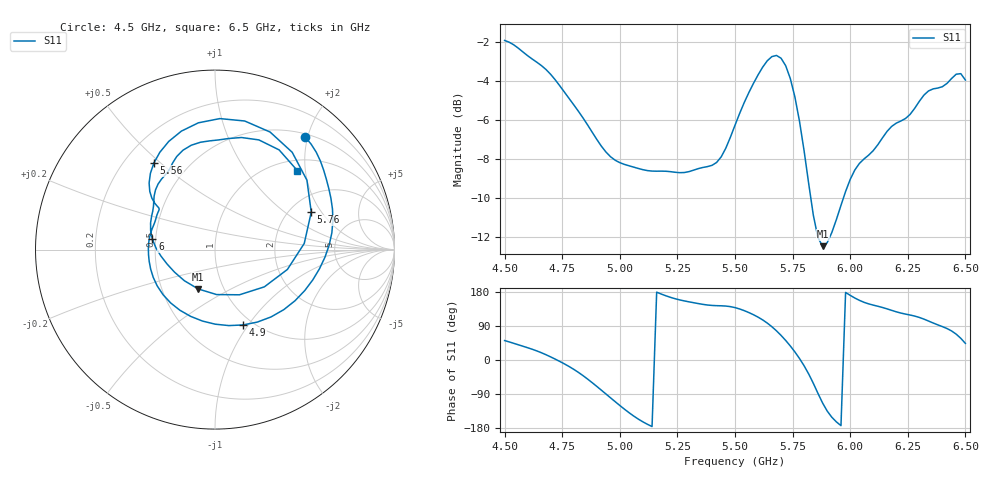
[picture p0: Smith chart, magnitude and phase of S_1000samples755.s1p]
! TOUCHSTONE file generated by CST MICROWAVE STUDIO
! Date and time: Sat Oct 29 06:47:40 2022
! Project name: L.cst
! Parameters = {Di=1.27; Epsilon_r=1.56; InnerDiameter=1.27; Length=2; Lf=10; Lg=60; OuterConductorThickness=0.2921; OuterDiameter=3.6; Wf=3; Wp=41.2; de=1.5; df=6.8; g=0.8; gx=3.78803; gy=0.400065; h=2.34; hf=1.524; px=13.604; py=11.7149; w=9.7; wx=9.81601; wy=11.3148}
! Header version: 2018
! Port assignment regex: !\s*Touchstone port\s*([0-9]+)\s*=\s*(CST MWS port|CST DS port)\s*([0-9]+|Zmin|Zmax)\s*\(\"(.*)\"\)(\s*mode\s*([0-9]+))?.*
! Touchstone port assignment:
! Touchstone port 1 = CST MWS port 1 ("")
# GHz S DB R 50
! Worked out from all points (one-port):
!   101 points, 4.5 GHz to 6.5 GHz, reference 50 ohm
!   lowest |S11| = -12.5 dB at 5.88 GHz (marker M1), VSWR 1.63, Z = 37.9 - j17.6 ohm
!   |S11| at or under -10 dB: 5.829 GHz to 5.97 GHz (140.9 MHz wide, 2.39 % of centre)
!   S11 on the Smith chart (normalised r, x): 4.5 GHz: 0.55, +1.96; 4.9 GHz: 0.90, -0.95; 5.56 GHz: 0.32, +0.48; 5.76 GHz: 2.59, +1.61; 6 GHz: 0.48, +0.06; 6.5 GHz: 1.22, +1.81
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4.5  -1.90 51.3
4.66  -3.19 19.1
4.76  -4.56 -10.4
4.84  -5.87 -41.1
4.9  -6.98 -69.6
5  -8.17 -120.0
5.1  -8.53 -163.2
5.26  -8.68 158.6
5.42  -8.16 143.4
5.5  -6.25 138.3
5.56  -4.58 125.2
5.62  -3.27 105.8
5.66  -2.73 87.9
5.68  -2.67 77.0
5.72  -3.20 51.6
5.76  -4.80 21.3
5.78  -6.05 3.9
5.82  -9.26 -37.0
5.84  -10.86 -61.6
5.88  -12.45 -113.3
5.92  -11.76 -150.9
6  -9.03 170.6
6.16  -6.57 134.9
6.26  -5.69 118.7
6.32  -4.70 107.9
6.44  -3.85 76.7
6.48  -3.60 57.3
6.5  -3.93 43.8
